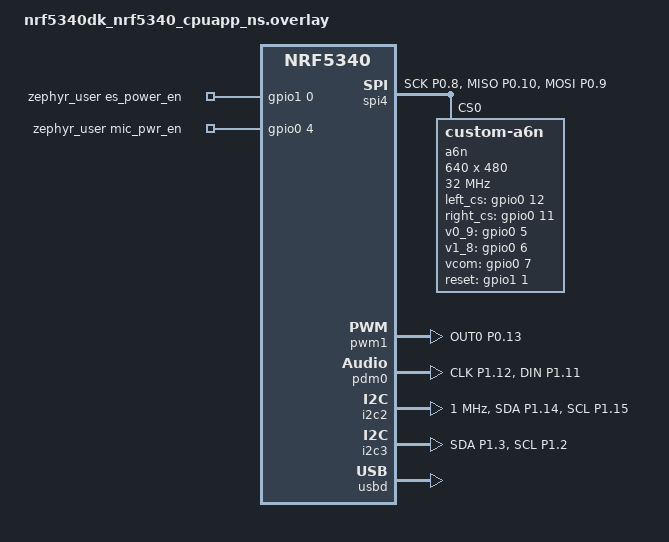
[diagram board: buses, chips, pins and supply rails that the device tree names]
/ {
    chosen {
        zephyr,display = &a6n;  // Switch to A6N projector for testing
        nordic-nus-uart = &uart0;
        /* USB CDC ACM for console/shell */
        zephyr,console = &cdc_acm_uart0;
        zephyr,shell-uart = &cdc_acm_uart0;
    };

    aliases {
        myals = &i2c3;  // My Ambient Light Sensor I2C bus
    };

    zephyr_user: zephyr,user {
        es_power_en-gpios = <&gpio1 0 GPIO_ACTIVE_HIGH>;
        mic_pwr_en-gpios = <&gpio0 4 GPIO_ACTIVE_HIGH>;
    };
};

&pinctrl {
    spi4_default: spi4_default {
        group1 {
            psels = <NRF_PSEL(SPIM_SCK, 0, 8)>,
                    <NRF_PSEL(SPIM_MISO, 0, 10)>,
                    <NRF_PSEL(SPIM_MOSI, 0, 9)>;
            nordic,drive-mode = <NRF_DRIVE_E0E1>;
        };
    };
    spi4_sleep: spi4_sleep {
        group1 {
            psels = <NRF_PSEL(SPIM_SCK, 0, 8)>,
                    <NRF_PSEL(SPIM_MISO, 0, 10)>,
                    <NRF_PSEL(SPIM_MOSI, 0, 9)>;
            low-power-enable;
        };
    };
    
    pwm1_default: pwm1_default {
        group1 {
            psels = <NRF_PSEL(PWM_OUT0, 0, 13)>;  /* P0.13 */
        };
    };
    pwm1_sleep: pwm1_sleep {
        group1 {
            psels = <NRF_PSEL(PWM_OUT0, 0, 13)>;
            low-power-enable;
        };
    };
    
    pdm0_default: pdm0_default {
        group1 {
            psels = <NRF_PSEL(PDM_CLK, 1, 12)>,
                    <NRF_PSEL(PDM_DIN, 1, 11)>;
        };
    };
    
    i2c2_default: i2c2_default {
        group1 {
            psels = <NRF_PSEL(TWIM_SDA, 1, 14)>,
                    <NRF_PSEL(TWIM_SCL, 1, 15)>;
        };
    };
    i2c2_sleep: i2c2_sleep {
        group1 {
            psels = <NRF_PSEL(TWIM_SDA, 1, 14)>,
                    <NRF_PSEL(TWIM_SCL, 1, 15)>;
            low-power-enable;
        };
    };

    i2c3_default: i2c3_default {
        group1 {
            psels = <NRF_PSEL(TWIM_SDA, 1, 3)>, /* P1.03 SDA */
                    <NRF_PSEL(TWIM_SCL, 1, 2)>;   /* P1.02 SCL */
            bias-pull-up;
            nordic,drive-mode = <NRF_DRIVE_S0D1>;
        };
    };
    i2c3_sleep: i2c3_sleep {
        group1 {
            psels = <NRF_PSEL(TWIM_SDA, 1, 3)>,
                    <NRF_PSEL(TWIM_SCL, 1, 2)>;
            low-power-enable;
        };
    };
};

/* Disable SPI3 (8MHz limited) */
&spi3 {
    status = "disabled";
};

/* Enable SPI4 with 32MHz capability for A6N */
&spi4 {
    compatible = "nordic,nrf-spim";
    status = "okay";
    pinctrl-0 = <&spi4_default>;
    pinctrl-1 = <&spi4_sleep>;
    pinctrl-names = "default", "sleep";
    
    a6n: a6n@0 {
        compatible = "zephyr,custom-a6n";
        reg = <0>;
        status = "okay";  // Enable A6N for projector testing
        spi-max-frequency = <32000000>;
        left_cs-gpios = <&gpio0 12 GPIO_ACTIVE_HIGH>; // cs0
        right_cs-gpios = <&gpio0 11 GPIO_ACTIVE_HIGH>;// cs1
        /* Power enables and reset */
        v0_9-gpios     = <&gpio0 5 GPIO_ACTIVE_HIGH>;  /* P0.05 */
        v1_8-gpios     = <&gpio0 6 GPIO_ACTIVE_HIGH>;  /* P0.06 */
        vcom-gpios     = <&gpio0 7 GPIO_ACTIVE_HIGH>;  /* P0.07 */
        reset-gpios    = <&gpio1 1 GPIO_ACTIVE_HIGH>;  /* P1.01 */

        width = <640>;
        height = <480>;
    };
};

/* Enable PWM1 for protobuf handler */
&pwm1 {
    status = "okay";
    pinctrl-0 = <&pwm1_default>;
    pinctrl-1 = <&pwm1_sleep>;
    pinctrl-names = "default", "sleep";
};

/* Enable PDM for microphone audio streaming */
&pdm0 {
    status = "okay";
    pinctrl-0 = <&pdm0_default>;
    pinctrl-names = "default";
    clock-source = "PCLK32M_HFXO";
    queue-size = <4>;
};

/* Enable I2C2 for SSD1306 display */
&i2c2 {
    compatible = "nordic,nrf-twim";
    status = "okay";
    pinctrl-0 = <&i2c2_default>;
    pinctrl-1 = <&i2c2_sleep>;
    pinctrl-names = "default", "sleep";
    clock-frequency = <I2C_BITRATE_FAST_PLUS>;
    zephyr,concat-buf-size = <4096>;
    
    ssd1306: ssd1306@3c {
        compatible = "solomon,ssd1306fb";  
        reg = <0x3c>;    
        width = <128>;
        height = <64>;
        segment-offset = <0>;
        page-offset = <0>;
        display-offset = <0>;
        multiplex-ratio = <63>;
        com-invdir;
        prechargep = <0x22>;
        segment-remap;
        status = "disabled";  // Disable SSD1306 for A6N testing
    };
};
&i2c1 {
    status = "disabled";
};

/* Enable I2C3 for OPT3006 light sensor */
&i2c3 {
    compatible = "nordic,nrf-twim";
    status = "okay";
    pinctrl-0 = <&i2c3_default>;
    pinctrl-1 = <&i2c3_sleep>;
    pinctrl-names = "default", "sleep";
};


&gpio_fwd {
	status = "disabled";
	/delete-node/ uart;
};

zephyr_udc0: &usbd {
    compatible = "nordic,nrf-usbd";
    status = "okay";

    cdc_acm_uart0: cdc_acm_uart0 {
        compatible = "zephyr,cdc-acm-uart";
    };
};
